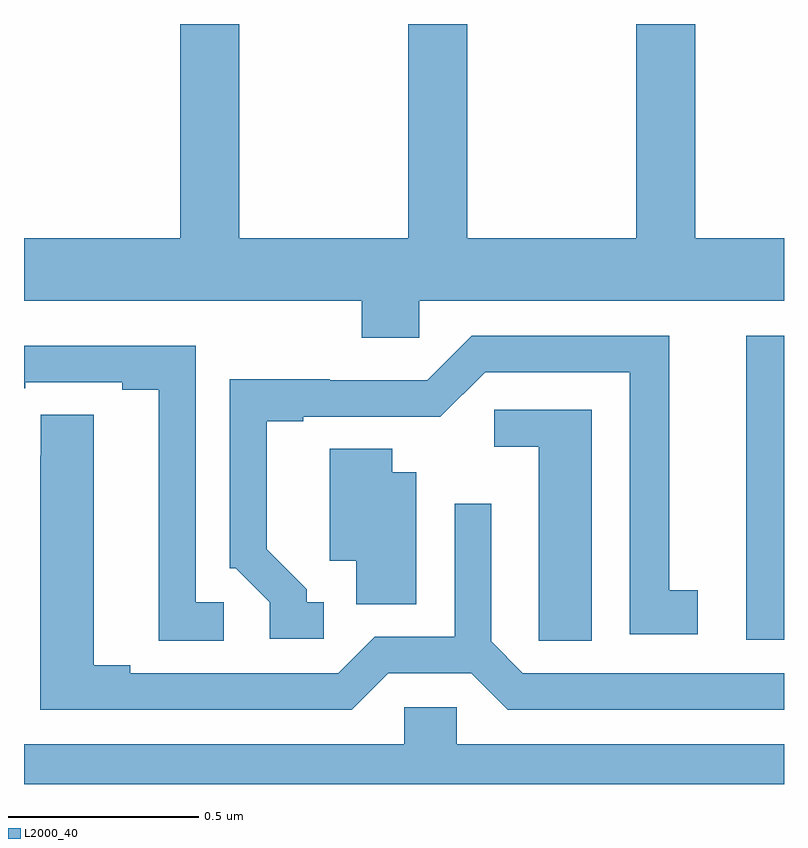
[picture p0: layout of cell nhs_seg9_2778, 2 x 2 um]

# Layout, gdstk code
import gdstk
lib = gdstk.Library(unit=1e-6, precision=1e-09)
def R(c, l, rs):  # rectangles x0, y0, x1, y1
    for r in rs: c.add(gdstk.rectangle(r[:2], r[2:], *l))
def P(c, l, *ps):  # polygons
    for p in ps: c.add(gdstk.Polygon(p, *l))
L2000_40 = (2000, 40)

nhs_seg9_2778 = lib.new_cell('nhs_seg9_2778')
R(nhs_seg9_2778, L2000_40, [(146.9,1176.879,147,1177.68)])
P(nhs_seg9_2778, L2000_40, [(146.04,1177.772),(147,1177.772),(147,1177.936),(146.766,1177.936),(146.766,1178.5),(146.611,1178.5),(146.611,1177.936),(146.166,1177.936),(146.166,1178.5),(146.011,1178.5),(146.011,1177.936),(145.566,1177.936),(145.566,1178.5),(145.411,1178.5),(145.411,1177.936),(145,1177.936),(145,1177.772),(145.889,1177.772),(145.889,1177.674),(146.04,1177.674)],
  [(145.789,1176.978),(145.744,1176.978),(145.744,1177.013),(145.639,1177.118),(145.639,1177.455),(145.735,1177.455),(145.735,1177.467),(146,1177.467),(146,1177.466),(146.096,1177.466),(146.214,1177.584),(146.594,1177.584),(146.594,1176.894),(146.773,1176.894),(146.773,1177.01),(146.698,1177.01),(146.698,1177.68),(146.178,1177.68),(146.061,1177.563),(145.805,1177.563),(145.805,1177.565),(145.542,1177.565),(145.542,1177.068),(145.557,1177.068),(145.647,1176.978),(145.647,1176.882),(145.789,1176.882)],
  [(145.525,1176.978),(145.452,1176.978),(145.452,1177.653),(145,1177.653),(145,1177.542),(145.003,1177.542),(145.003,1177.557),(145.259,1177.557),(145.259,1177.537),(145.355,1177.537),(145.355,1176.877),(145.525,1176.877)],
  [(146.494,1177.485),(146.238,1177.485),(146.238,1177.388),(146.354,1177.388),(146.354,1176.985),(146.355,1176.985),(146.355,1176.877),(146.494,1176.877)],
  [(145.959,1176.792),(146.177,1176.792),(146.273,1176.696),(147,1176.696),(147,1176.792),(146.313,1176.792),(146.229,1176.876),(146.229,1177.237),(146.133,1177.237),(146.133,1176.888),(145.923,1176.888),(145.827,1176.792),(145.279,1176.792),(145.279,1176.812),(145.183,1176.812),(145.183,1177.472),(145.044,1177.472),(145.044,1177.364),(145.043,1177.364),(145.043,1176.696),(145.863,1176.696)],
  [(146.032,1177.321),(145.969,1177.321),(145.969,1177.382),(145.805,1177.382),(145.805,1177.088),(145.874,1177.088),(145.874,1176.973),(146.032,1176.973)],
  [(147,1176.604),(146.139,1176.604),(146.139,1176.702),(146.001,1176.702),(146.001,1176.604),(145,1176.604),(145,1176.5),(147,1176.5)])

lib.write_gds('nhs_seg9_2778.gds')
